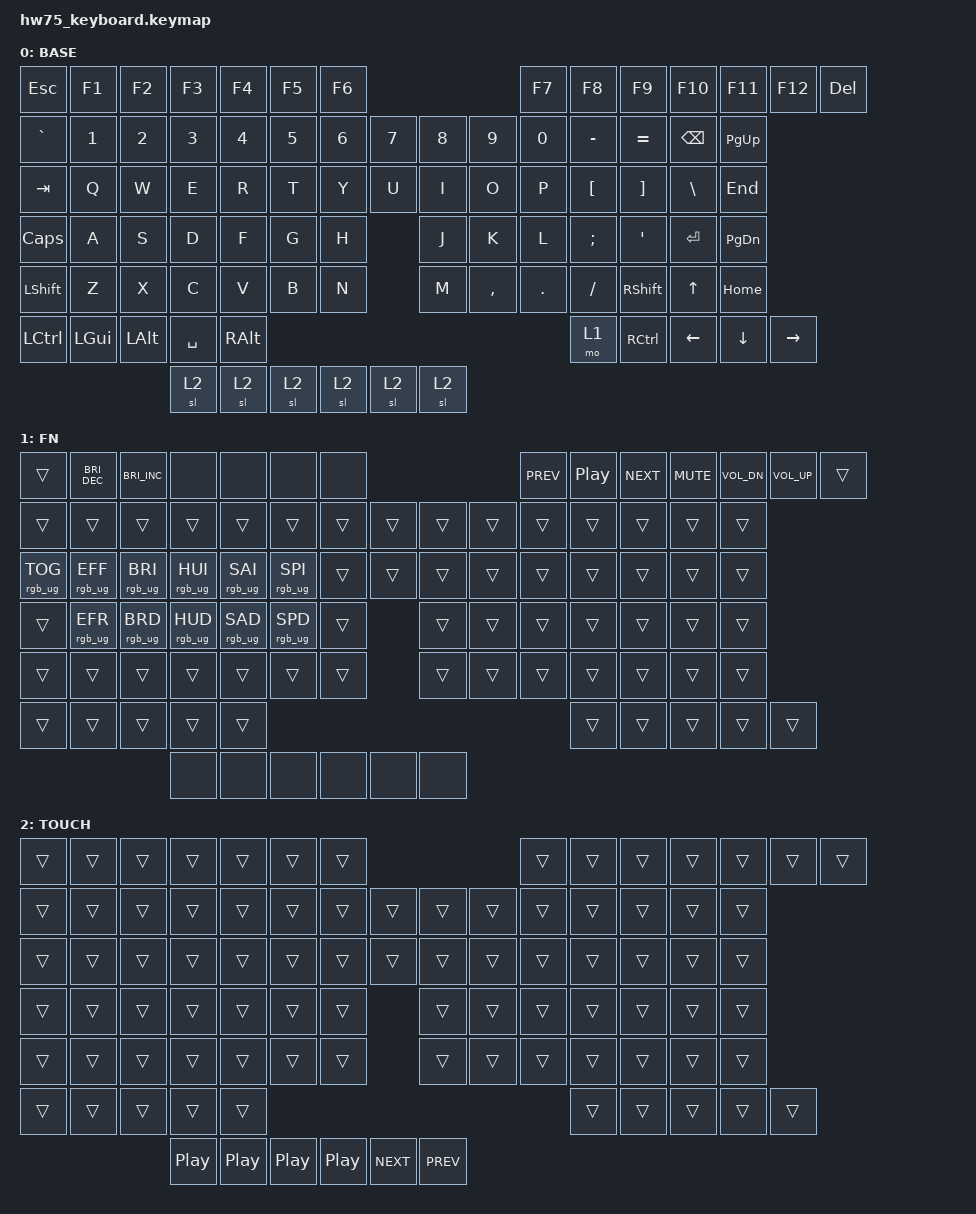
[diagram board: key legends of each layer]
/*
 * Copyright (c) 2022 The ZMK Contributors
 * SPDX-License-Identifier: MIT
 */

#include <behaviors.dtsi>
#include <dt-bindings/zmk/keys.h>
#include <dt-bindings/zmk/rgb.h>

#define BASE 0
#define FN 1
#define TOUCH 2

&sl {
  release-after-ms = <500>;
};

#include <behaviors.dtsi>
#include <dt-bindings/zmk/keys.h>
#include <dt-bindings/zmk/rgb.h>

#include <behaviors.dtsi>
#include <dt-bindings/zmk/keys.h>
#include <dt-bindings/zmk/rgb.h>

#include <behaviors.dtsi>
#include <dt-bindings/zmk/keys.h>
#include <dt-bindings/zmk/rgb.h>

#include <behaviors.dtsi>
#include <dt-bindings/zmk/keys.h>
#include <dt-bindings/zmk/rgb.h>

#include <behaviors.dtsi>
#include <dt-bindings/zmk/keys.h>
#include <dt-bindings/zmk/rgb.h>

#include <behaviors.dtsi>
#include <dt-bindings/zmk/keys.h>
#include <dt-bindings/zmk/rgb.h>

#include <behaviors.dtsi>
#include <dt-bindings/zmk/keys.h>
#include <dt-bindings/zmk/rgb.h>

#include <behaviors.dtsi>
#include <dt-bindings/zmk/keys.h>
#include <dt-bindings/zmk/rgb.h>

/ {
    keymap {
        compatible = "zmk,keymap";

        base {
            label = "BASE";
            bindings = <
&kp ESC              &kp F1    &kp F2  &kp F3  &kp F4             &kp F5  &kp F6  &kp F7     &kp F8               &kp F9     &kp F10   &kp F11   &kp F12              &kp DELETE
&kp GRAVE  &kp N1    &kp N2    &kp N3  &kp N4  &kp N5  &kp N6     &kp N7  &kp N8  &kp N9     &kp N0    &kp MINUS  &kp EQUAL  &kp BSPC                                 &kp PG_UP
&kp TAB              &kp Q     &kp W   &kp E   &kp R   &kp T      &kp Y   &kp U   &kp I      &kp O     &kp P      &kp LBKT   &kp RBKT  &kp BSLH                       &kp END
&kp CLCK             &kp A     &kp S   &kp D   &kp F   &kp G      &kp H   &kp J   &kp K      &kp L     &kp SEMI   &kp SQT              &kp RET                        &kp PAGE_DOWN
&kp LSHFT            &kp Z     &kp X   &kp C   &kp V   &kp B      &kp N   &kp M   &kp COMMA  &kp DOT   &kp FSLH   &kp RSHFT                      &kp UP               &kp HOME
&kp LCTRL  &kp LGUI  &kp LALT                          &kp SPACE                             &kp RALT  &mo 1      &kp RCTRL            &kp LEFT  &kp DOWN  &kp RIGHT
                               &sl 2   &sl 2   &sl 2   &sl 2      &sl 2   &sl 2
            >;
        };

        fn {
            label = "FN";
            bindings = <
&trans                   &kp C_BRI_DEC    &kp C_BRI_INC    &none            &none                             &none   &none   &kp C_PREV  &kp C_PP          &kp C_NEXT  &kp C_MUTE  &kp C_VOL_DN  &kp C_VOL_UP          &trans
&trans           &trans  &trans           &trans           &trans           &trans           &trans           &trans  &trans  &trans      &trans    &trans  &trans      &trans                                          &trans
&rgb_ug RGB_TOG          &rgb_ug RGB_EFF  &rgb_ug RGB_BRI  &rgb_ug RGB_HUI  &rgb_ug RGB_SAI  &rgb_ug RGB_SPI  &trans  &trans  &trans      &trans    &trans  &trans      &trans      &trans                              &trans
&trans                   &rgb_ug RGB_EFR  &rgb_ug RGB_BRD  &rgb_ug RGB_HUD  &rgb_ug RGB_SAD  &rgb_ug RGB_SPD  &trans  &trans  &trans      &trans    &trans  &trans                  &trans                              &trans
&trans                   &trans           &trans           &trans           &trans           &trans           &trans  &trans  &trans      &trans    &trans  &trans                                &trans                &trans
&trans           &trans  &trans                                                              &trans                                       &trans    &trans  &trans                  &trans        &trans        &trans
                                          &none            &none            &none            &none            &none   &none
            >;
        };

        TOUCH {
            bindings = <
&trans          &trans  &trans    &trans    &trans              &trans      &trans      &trans  &trans          &trans  &trans  &trans  &trans          &trans
&trans  &trans  &trans  &trans    &trans    &trans    &trans    &trans      &trans      &trans  &trans  &trans  &trans  &trans                          &trans
&trans          &trans  &trans    &trans    &trans    &trans    &trans      &trans      &trans  &trans  &trans  &trans  &trans  &trans                  &trans
&trans          &trans  &trans    &trans    &trans    &trans    &trans      &trans      &trans  &trans  &trans  &trans          &trans                  &trans
&trans          &trans  &trans    &trans    &trans    &trans    &trans      &trans      &trans  &trans  &trans  &trans                  &trans          &trans
&trans  &trans  &trans                                &trans                                    &trans  &trans  &trans          &trans  &trans  &trans
                        &kp C_PP  &kp C_PP  &kp C_PP  &kp C_PP  &kp C_NEXT  &kp C_PREV
            >;
        };
    };
};
